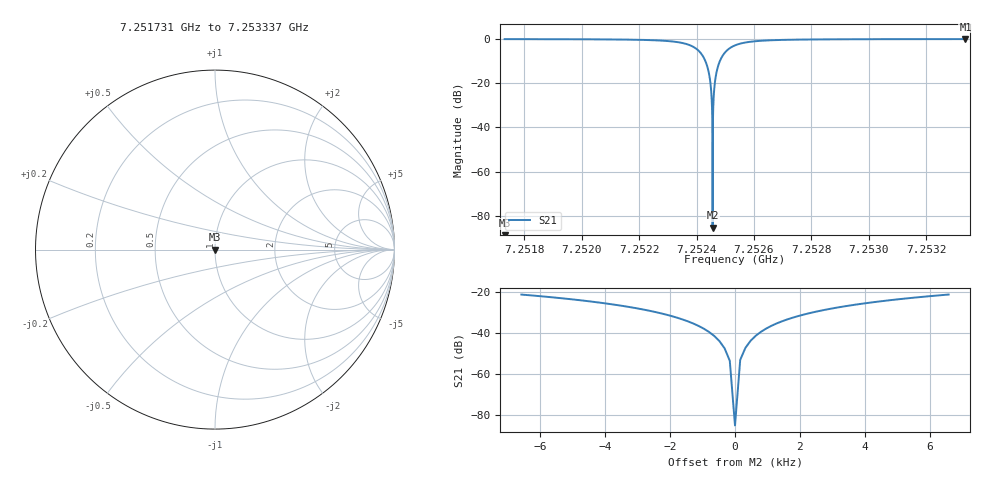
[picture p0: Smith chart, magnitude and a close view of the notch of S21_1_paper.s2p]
! Created with skrf (http://scikit-rf.org).
# Hz S RI R 50.0
!freq ReS11 ImS11 ReS21 ImS21 ReS12 ImS12 ReS22 ImS22
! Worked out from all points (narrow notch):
!   10000 points, 7.251731 GHz to 7.253337 GHz, reference 50 ohm
!   highest |S21| = -0.03 dB at 7.253337 GHz (marker M1); lowest = -85.3 dB at 7.252456 GHz (marker M2)
!   notch at M2: 85.2 dB deep, 1.11 kHz wide at half that depth
!   lowest |S11| = - dB at 7.251731 GHz (marker M3), VSWR 1.00, Z = 50 + j0 ohm
!   |S11| at or under -10 dB: start of sweep to end of sweep
!   S12 and S22 are empty: the file has one direction only
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7.2517308e9  0 0  0.9893 -0.103  0 0  0 0
7.2519986e9  0 0  0.9734 -0.1608  0 0  0 0
7.2522663e9  0 0  0.8632 -0.3437  0 0  0 0
7.2523488e9  0 0  0.668 -0.4709  0 0  0 0
7.2523856e9  0 0  0.4646 -0.4987  0 0  0 0
7.252411e9  0 0  0.2617 -0.4396  0 0  0 0
7.2524266e9  0 0  0.1315 -0.338  0 0  0 0
7.252438e9  0 0  0.0537 -0.2254  0 0  0 0
7.2524452e9  0 0  0.0199 -0.1396  0 0  0 0
7.2524507e9  0 0  0.00489 -0.0698  0 0  0 0
7.252456e9  0 0  2.94e-09 5.42e-05  0 0  0 0
7.2524616e9  0 0  0.00552 0.0741  0 0  0 0
7.2524656e9  0 0  0.016 0.1256  0 0  0 0
7.2524697e9  0 0  0.0317 0.1751  0 0  0 0
7.2524811e9  0 0  0.0992 0.2989  0 0  0 0
7.2525024e9  0 0  0.2742 0.4461  0 0  0 0
7.2525341e9  0 0  0.5165 0.4997  0 0  0 0
7.2525743e9  0 0  0.7102 0.4537  0 0  0 0
7.2526253e9  0 0  0.834 0.3721  0 0  0 0
7.2528018e9  0 0  0.9544 0.2085  0 0  0 0
7.2530696e9  0 0  0.9851 0.1213  0 0  0 0
7.2533373e9  0 0  0.9927 0.0851  0 0  0 0
